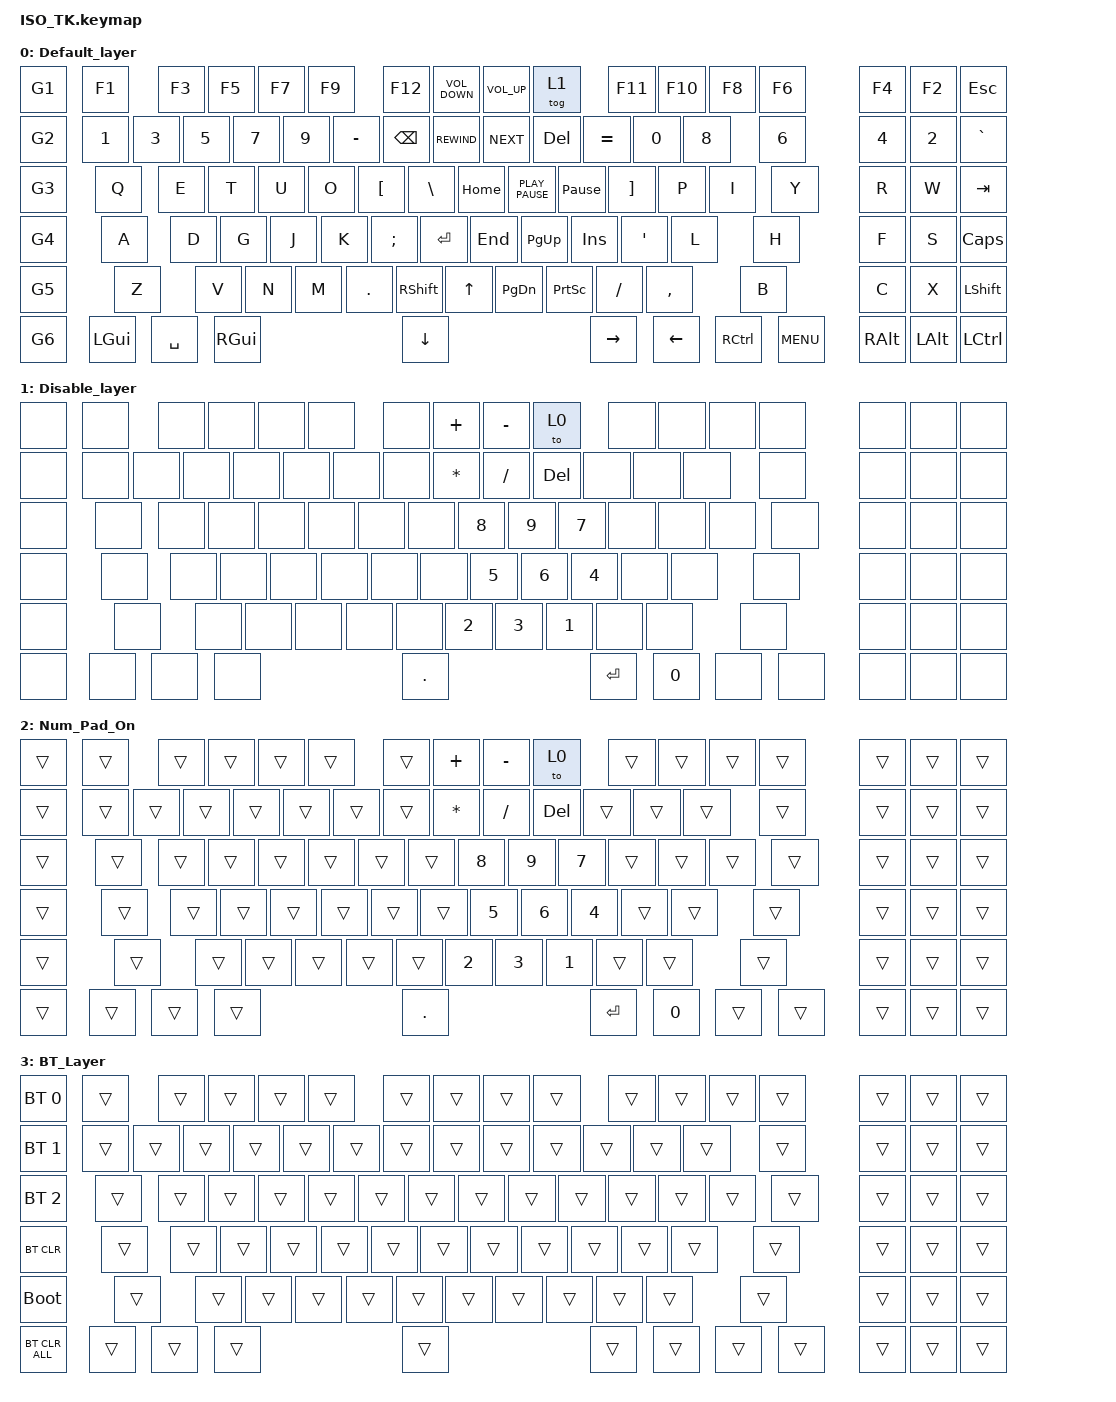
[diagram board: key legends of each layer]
#include <behaviors.dtsi>
#include <dt-bindings/zmk/bt.h>
#include <dt-bindings/zmk/keys.h>

/ {
    macros {
        G1: G1 {
            compatible = "zmk,behavior-macro";
            #binding-cells = <0>;
            bindings = <&kp G &kp N1>;
            label = "G1";
        };

        G2: G2 {
            compatible = "zmk,behavior-macro";
            #binding-cells = <0>;
            bindings = <&kp G &kp N2>;
            label = "G2";
        };

        G3: G3 {
            compatible = "zmk,behavior-macro";
            #binding-cells = <0>;
            bindings = <&kp G &kp N3>;
            label = "G3";
        };

        G4: G4 {
            compatible = "zmk,behavior-macro";
            #binding-cells = <0>;
            bindings = <&kp G &kp N4>;
            label = "G4";
        };

        G5: G5 {
            compatible = "zmk,behavior-macro";
            #binding-cells = <0>;
            bindings = <&kp G &kp N5>;
            label = "G5";
        };

        G6: G6 {
            compatible = "zmk,behavior-macro";
            #binding-cells = <0>;
            bindings = <&kp G &kp N6>;
            label = "G6";
        };
    };

    combos {
        compatible = "zmk,combos";

        Switch_to_BT_Mode {
            bindings = <&tog 2>;
            key-positions = <0 17 35>;
            layers = <0 1>;
        };
    };

    keymap {
        compatible = "zmk,keymap";

        Default_layer {
            bindings = <
&G1  &kp ESC    &kp F1    &kp F2    &kp F3  &kp F4             &kp F5  &kp F6  &kp F7  &kp F8     &kp F9    &kp F10    &kp F11     &kp F12    &tog 1           &kp C_VOLUME_DOWN  &kp C_VOLUME_UP
&G2  &kp GRAVE  &kp N1    &kp N2    &kp N3  &kp N4  &kp N5     &kp N6  &kp N7  &kp N8  &kp N9     &kp N0    &kp MINUS  &kp EQUAL   &kp BSPC   &kp DEL          &kp C_REWIND       &kp C_NEXT
&G3  &kp TAB    &kp Q     &kp W     &kp E   &kp R   &kp T      &kp Y   &kp U   &kp I   &kp O      &kp P     &kp LBKT   &kp RBKT    &kp BSLH   &kp PAUSE_BREAK  &kp HOME           &kp K_PLAY_PAUSE
&G4  &kp CAPS   &kp A     &kp S     &kp D   &kp F   &kp G      &kp H   &kp J   &kp K   &kp L      &kp SEMI  &kp SQT                &kp RET    &kp INSERT       &kp END            &kp PAGE_UP
&G5  &kp LSHFT            &kp Z     &kp X   &kp C   &kp V      &kp B   &kp N   &kp M   &kp COMMA  &kp DOT   &kp FSLH               &kp RSHFT  &kp PRINTSCREEN  &kp UP             &kp PAGE_DOWN
&G6  &kp LCTRL  &kp LGUI  &kp LALT                  &kp SPACE                                     &kp RALT  &kp RGUI   &kp C_MENU  &kp RCTRL  &kp LEFT         &kp DOWN           &kp RIGHT
            >;
        };

        Disable_layer {
            bindings = <
&none  &none  &none  &none  &none  &none          &none  &none  &none  &none  &none  &none  &none  &none  &to 0    &kp PLUS  &kp MINUS
&none  &none  &none  &none  &none  &none  &none  &none  &none  &none  &none  &none  &none  &none  &none  &kp DEL  &kp STAR  &kp FSLH
&none  &none  &none  &none  &none  &none  &none  &none  &none  &none  &none  &none  &none  &none  &none  &kp N7   &kp N8    &kp N9
&none  &none  &none  &none  &none  &none  &none  &none  &none  &none  &none  &none  &none          &none  &kp N4   &kp N5    &kp N6
&none  &none          &none  &none  &none  &none  &none  &none  &none  &none  &none  &none          &none  &kp N1   &kp N2    &kp N3
&none  &none  &none  &none                  &none                                  &none  &none  &none  &none  &kp N0   &kp DOT   &kp RET
            >;
        };

        Num_Pad_On {
            bindings = <
&trans  &trans  &trans  &trans  &trans  &trans          &trans  &trans  &trans  &trans  &trans  &trans  &trans  &trans  &to 0    &kp PLUS  &kp MINUS
&trans  &trans  &trans  &trans  &trans  &trans  &trans  &trans  &trans  &trans  &trans  &trans  &trans  &trans  &trans  &kp DEL  &kp STAR  &kp FSLH
&trans  &trans  &trans  &trans  &trans  &trans  &trans  &trans  &trans  &trans  &trans  &trans  &trans  &trans  &trans  &kp N7   &kp N8    &kp N9
&trans  &trans  &trans  &trans  &trans  &trans  &trans  &trans  &trans  &trans  &trans  &trans  &trans          &trans  &kp N4   &kp N5    &kp N6
&trans  &trans          &trans  &trans  &trans  &trans  &trans  &trans  &trans  &trans  &trans  &trans          &trans  &kp N1   &kp N2    &kp N3
&trans  &trans  &trans  &trans                  &trans                                  &trans  &trans  &trans  &trans  &kp N0   &kp DOT   &kp RET
            >;
        };

        BT_Layer {
            bindings = <
&bt BT_SEL 0    &trans  &trans  &trans  &trans  &trans          &trans  &trans  &trans  &trans  &trans  &trans  &trans  &trans  &trans  &trans  &trans
&bt BT_SEL 1    &trans  &trans  &trans  &trans  &trans  &trans  &trans  &trans  &trans  &trans  &trans  &trans  &trans  &trans  &trans  &trans  &trans
&bt BT_SEL 2    &trans  &trans  &trans  &trans  &trans  &trans  &trans  &trans  &trans  &trans  &trans  &trans  &trans  &trans  &trans  &trans  &trans
&bt BT_CLR      &trans  &trans  &trans  &trans  &trans  &trans  &trans  &trans  &trans  &trans  &trans  &trans          &trans  &trans  &trans  &trans
&bootloader     &trans          &trans  &trans  &trans  &trans  &trans  &trans  &trans  &trans  &trans  &trans          &trans  &trans  &trans  &trans
&bt BT_CLR_ALL  &trans  &trans  &trans                  &trans                                  &trans  &trans  &trans  &trans  &trans  &trans  &trans
            >;
        };
    };
};
